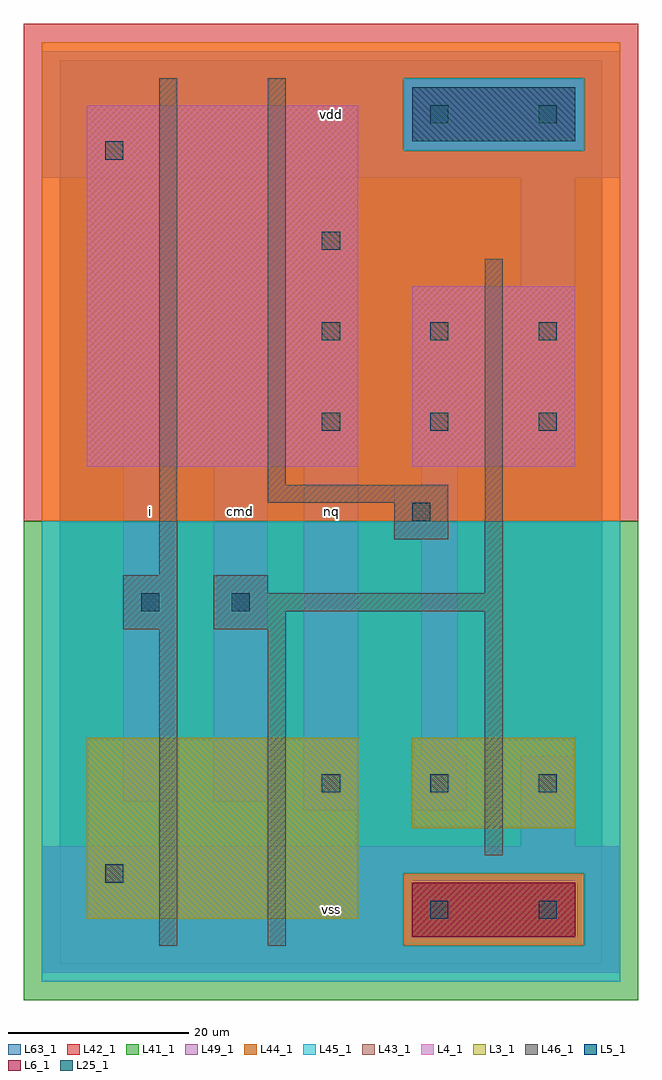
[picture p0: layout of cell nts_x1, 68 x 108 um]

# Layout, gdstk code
import gdstk
lib = gdstk.Library(unit=1e-6, precision=1e-09)
def R(c, l, rs):  # rectangles x0, y0, x1, y1
    for r in rs: c.add(gdstk.rectangle(r[:2], r[2:], *l))
def A(c, l, x, y, w, h, nx, ny, dx, dy):  # array of equal rectangles
    R(c, l, [(x+i*dx, y+j*dy, x+i*dx+w, y+j*dy+h) for i in range(nx) for j in range(ny)])
L3_1 = (3, 1)
L4_1 = (4, 1)
L5_1 = (5, 1)
L6_1 = (6, 1)
L25_1 = (25, 1)
L41_1 = (41, 1)
L42_1 = (42, 1)
L43_1 = (43, 1)
L44_1 = (44, 1)
L45_1 = (45, 1)
L46_1 = (46, 1)
L49_1 = (49, 1)
L63_1 = (63, 1)

nts_x1 = lib.new_cell('nts_x1')
R(nts_x1, L3_1, [(3,5,33,25), (39,15,57,25)])
R(nts_x1, L4_1, [(3,55,33,95), (39,55,57,75)])
R(nts_x1, L5_1, [(39,91,57,97)])
R(nts_x1, L6_1, [(39,3,57,9)])
A(nts_x1, L25_1, 29, 19, 2, 2, 3, 2, 12, 40)
A(nts_x1, L25_1, 29, 69, 2, 2, 3, 1, 12, 0)
R(nts_x1, L25_1, [(41,5,43,7), (53,5,55,7), (5,9,7,11), (9,39,11,41), (19,39,21,41), (39,49,41,51), (29,79,31,81), (5,89,7,91), (41,93,43,95), (53,93,55,95)])
R(nts_x1, L41_1, [(-4,-4,64,49)])
R(nts_x1, L42_1, [(-4,49,64,104)])
R(nts_x1, L43_1, [(39,3,57,9), (3,5,33,25), (39,15,57,25), (3,55,33,95), (39,55,57,75), (39,91,57,97)])
R(nts_x1, L44_1, [(38,2,58,10), (-2,49,62,90), (-2,90,38,98), (58,90,62,98), (-2,98,62,102)])
R(nts_x1, L45_1, [(-2,-2,62,2), (-2,2,38,10), (58,2,62,10), (-2,10,62,49), (38,90,58,98)])
R(nts_x1, L46_1, [(11,2,13,37), (23,2,25,37), (47,12,49,39), (7,37,13,43), (17,37,25,39), (17,39,49,41), (17,41,23,43), (47,41,49,78), (11,43,13,98), (37,47,43,51), (23,51,43,53), (23,53,25,98)])
R(nts_x1, L49_1, [(-2,-1,62,13), (51,13,57,23), (27,17,33,83), (39,17,45,23), (7,18,13,82), (17,18,23,82), (40,23,44,47), (37,47,44,53), (40,53,44,57), (39,57,45,63), (51,57,57,87), (40,63,44,67), (39,67,45,73), (-2,87,62,101)])
R(nts_x1, L63_1, [(0,0,60,100)])
nts_x1.add(gdstk.Label('i', (10,50), layer=49, texttype=1))
nts_x1.add(gdstk.Label('i', (10,50), layer=49, texttype=1))
nts_x1.add(gdstk.Label('cmd', (20,50), layer=49, texttype=1))
nts_x1.add(gdstk.Label('cmd', (20,50), layer=49, texttype=1))
nts_x1.add(gdstk.Label('vss', (30,6), layer=49, texttype=1))
nts_x1.add(gdstk.Label('vss', (30,6), layer=49, texttype=1))
nts_x1.add(gdstk.Label('nq', (30,50), layer=49, texttype=1))
nts_x1.add(gdstk.Label('nq', (30,50), layer=49, texttype=1))
nts_x1.add(gdstk.Label('vdd', (30,94), layer=49, texttype=1))
nts_x1.add(gdstk.Label('vdd', (30,94), layer=49, texttype=1))

lib.write_gds('nts_x1.gds')
